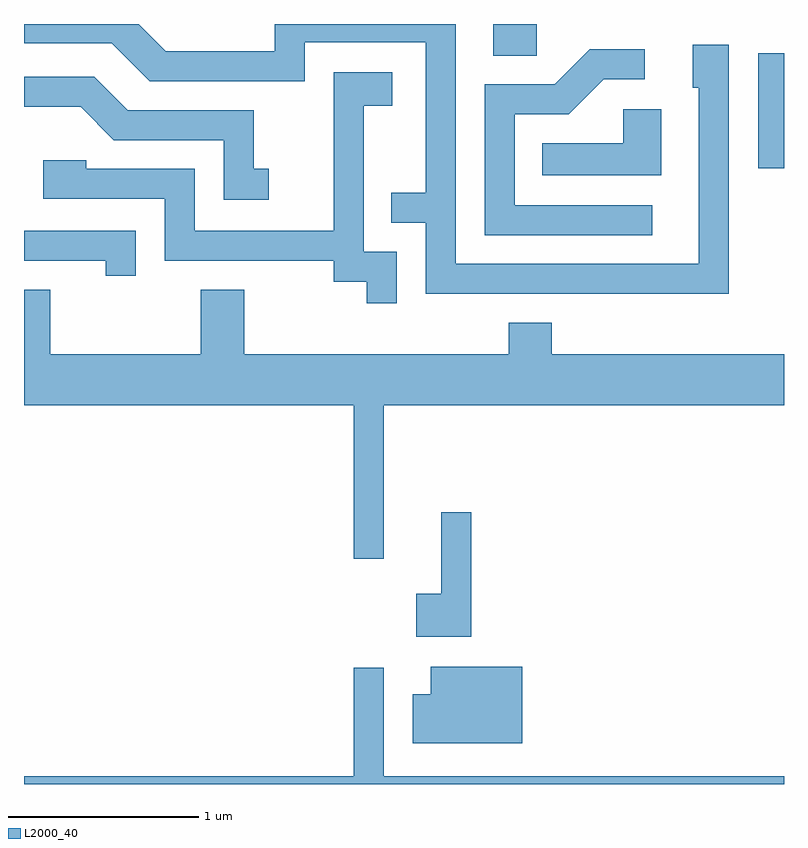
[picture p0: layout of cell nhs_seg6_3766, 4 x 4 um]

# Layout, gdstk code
import gdstk
lib = gdstk.Library(unit=1e-6, precision=1e-09)
def R(c, l, rs):  # rectangles x0, y0, x1, y1
    for r in rs: c.add(gdstk.rectangle(r[:2], r[2:], *l))
def P(c, l, *ps):  # polygons
    for p in ps: c.add(gdstk.Polygon(p, *l))
L2000_40 = (2000, 40)

nhs_seg6_3766 = lib.new_cell('nhs_seg6_3766')
R(nhs_seg6_3766, L2000_40, [(301.476,1653.403,301.611,1654.009), (300.081,1653.996,300.309,1654.162)])
P(nhs_seg6_3766, L2000_40, [(301.319,1654.054),(301.131,1654.054),(301.131,1653.826),(301.161,1653.826),(301.161,1652.899),(299.884,1652.899),(299.884,1654.162),(298.931,1654.162),(298.931,1654.019),(298.357,1654.019),(298.214,1654.162),(297.611,1654.162),(297.611,1654.061),(298.074,1654.061),(298.274,1653.861),(299.089,1653.861),(299.089,1654.066),(299.726,1654.066),(299.726,1653.274),(299.543,1653.274),(299.543,1653.116),(299.726,1653.116),(299.726,1652.741),(301.319,1652.741)],
  [(300.918,1653.209),(300.194,1653.209),(300.194,1653.686),(300.477,1653.686),(300.662,1653.871),(300.878,1653.871),(300.878,1654.029),(300.589,1654.029),(300.404,1653.844),(300.036,1653.844),(300.036,1653.051),(300.918,1653.051)],
  [(299.574,1652.964),(299.399,1652.964),(299.399,1653.731),(299.549,1653.731),(299.549,1653.909),(299.241,1653.909),(299.241,1653.074),(298.509,1653.074),(298.509,1653.399),(297.939,1653.399),(297.939,1653.444),(297.711,1653.444),(297.711,1653.241),(298.351,1653.241),(298.351,1652.916),(299.241,1652.916),(299.241,1652.806),(299.416,1652.806),(299.416,1652.693),(299.574,1652.693)],
  [(298.898,1653.399),(298.819,1653.399),(298.819,1653.709),(298.157,1653.709),(297.982,1653.884),(297.611,1653.884),(297.611,1653.726),(297.909,1653.726),(298.084,1653.551),(298.661,1653.551),(298.661,1653.236),(298.898,1653.236)],
  [(300.964,1653.714),(300.766,1653.714),(300.766,1653.534),(300.338,1653.534),(300.338,1653.366),(300.964,1653.366)],
  [(298.199,1653.074),(297.611,1653.074),(297.611,1652.916),(298.041,1652.916),(298.041,1652.838),(298.199,1652.838)],
  [(299.504,1652.156),(301.611,1652.156),(301.611,1652.424),(300.389,1652.424),(300.389,1652.589),(300.161,1652.589),(300.161,1652.424),(298.769,1652.424),(298.769,1652.764),(298.541,1652.764),(298.541,1652.424),(297.749,1652.424),(297.749,1652.764),(297.611,1652.764),(297.611,1652.156),(299.346,1652.156),(299.346,1651.348),(299.504,1651.348)],
  [(299.964,1651.593),(299.806,1651.593),(299.806,1651.164),(299.676,1651.164),(299.676,1650.936),(299.964,1650.936)],
  [(300.234,1650.779),(299.751,1650.779),(299.751,1650.634),(299.656,1650.634),(299.656,1650.376),(300.234,1650.376)],
  [(301.611,1650.204),(299.504,1650.204),(299.504,1650.773),(299.346,1650.773),(299.346,1650.204),(297.611,1650.204),(297.611,1650.162),(301.611,1650.162)])

lib.write_gds('nhs_seg6_3766.gds')
